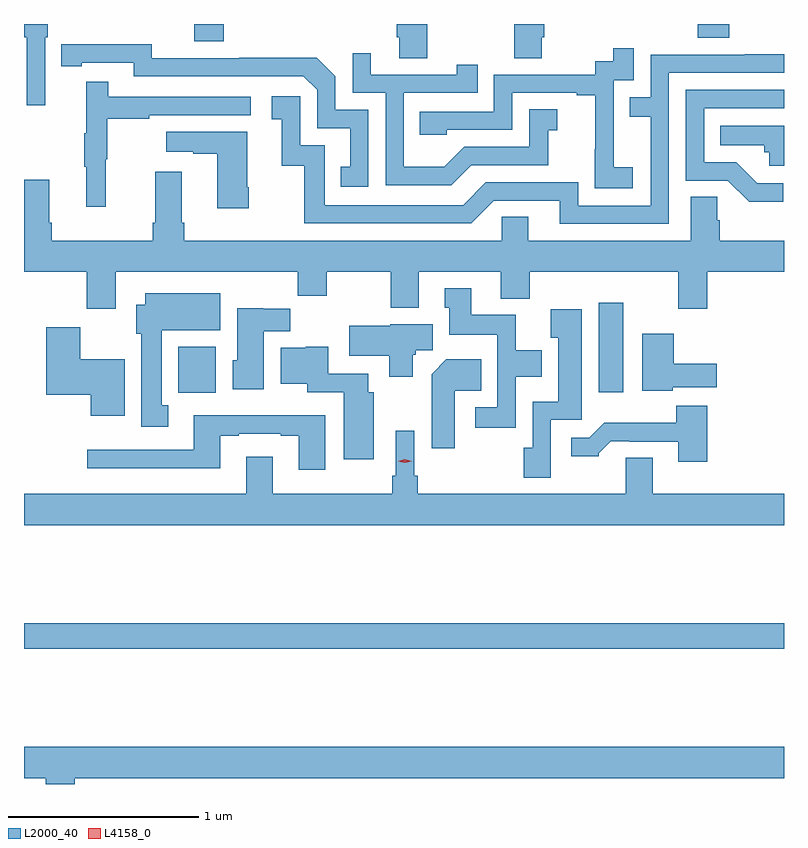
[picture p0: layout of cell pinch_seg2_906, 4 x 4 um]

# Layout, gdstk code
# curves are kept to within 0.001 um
import gdstk
lib = gdstk.Library(unit=1e-6, precision=1e-09)
def R(c, l, rs):  # rectangles x0, y0, x1, y1
    for r in rs: c.add(gdstk.rectangle(r[:2], r[2:], *l))
def P(c, l, *ps):  # polygons
    for p in ps: c.add(gdstk.Polygon(p, *l))
L2000_40 = (2000, 40)
L4158_0 = (4158, 0)

pinch_seg2_906 = lib.new_cell('pinch_seg2_906')
R(pinch_seg2_906, L2000_40, [(513.533,636.328,517.533,636.464), (514.346,637.676,514.543,637.918), (516.557,637.68,516.688,638.149), (514.43,639.527,514.583,639.617), (517.079,639.545,517.244,639.617)])
P(pinch_seg2_906, L2000_40, [(516.259,639.546),(516.272,639.546),(516.272,639.617),(516.112,639.617),(516.112,639.436),(516.259,639.436)],
  [(515.655,639.617),(515.495,639.617),(515.495,639.546),(515.507,639.546),(515.507,639.436),(515.655,639.436)],
  [(513.645,639.548),(513.659,639.548),(513.659,639.617),(513.533,639.617),(513.533,639.548),(513.548,639.548),(513.548,639.189),(513.645,639.189)],
  [(515.346,639.165),(515.172,639.165),(515.172,639.342),(515.074,639.44),(514.666,639.44),(514.666,639.438),(514.206,639.438),(514.206,639.511),(513.73,639.51),(513.73,639.394),(513.838,639.394),(513.838,639.414),(514.11,639.414),(514.11,639.342),(515.004,639.342),(515.076,639.27),(515.076,639.069),(515.249,639.069),(515.249,638.865),(515.2,638.865),(515.2,638.76),(515.346,638.76)],
  [(516.736,638.863),(516.638,638.863),(516.638,639.092),(516.636,639.092),(516.636,639.321),(516.741,639.321),(516.741,639.49),(516.633,639.49),(516.633,639.42),(516.54,639.42),(516.54,639.351),(516.006,639.351),(516.006,639.156),(515.617,639.156),(515.617,639.033),(515.757,639.033),(515.757,639.06),(516.102,639.06),(516.102,639.255),(516.443,639.255),(516.443,639.243),(516.539,639.243),(516.539,638.959),(516.538,638.959),(516.538,638.753),(516.736,638.753)],
  [(515.887,638.874),(516.291,638.874),(516.291,639.059),(516.34,639.059),(516.34,639.169),(516.192,639.169),(516.192,638.97),(515.85,638.97),(515.746,638.866),(515.532,638.866),(515.532,639.255),(515.921,639.255),(515.921,639.403),(515.81,639.403),(515.81,639.351),(515.359,639.351),(515.359,639.463),(515.262,639.463),(515.262,639.255),(515.436,639.255),(515.436,638.769),(515.782,638.769)],
  [(516.927,639.36),(517.533,639.36),(517.533,639.458),(517.327,639.458),(517.327,639.456),(516.831,639.456),(516.831,639.231),(516.721,639.231),(516.721,639.13),(516.831,639.13),(516.831,638.661),(516.45,638.661),(516.45,638.784),(515.964,638.784),(515.844,638.664),(515.115,638.664),(515.115,638.979),(514.986,638.979),(514.986,639.238),(514.836,639.238),(514.836,639.117),(514.889,639.117),(514.889,638.871),(515.007,638.871),(515.007,638.568),(515.886,638.568),(516.006,638.688),(516.353,638.688),(516.353,638.565),(516.927,638.565)],
  [(513.962,638.904),(513.97,638.904),(513.97,639.118),(514.193,639.118),(514.193,639.138),(514.726,639.138),(514.726,639.234),(513.977,639.234),(513.977,639.313),(513.86,639.313),(513.86,639.041),(513.849,639.041),(513.849,638.867),(513.86,638.867),(513.86,638.655),(513.962,638.655)],
  [(517.528,638.778),(517.393,638.778),(517.282,638.889),(517.113,638.889),(517.113,639.174),(517.533,639.174),(517.533,639.27),(517.017,639.27),(517.017,638.793),(517.236,638.793),(517.349,638.681),(517.528,638.681)],
  [(517.533,639.082),(517.198,639.082),(517.198,638.978),(517.429,638.978),(517.429,638.943),(517.455,638.943),(517.455,638.87),(517.533,638.87)],
  [(514.716,638.758),(514.708,638.758),(514.708,639.049),(514.281,639.049),(514.281,638.945),(514.424,638.945),(514.424,638.935),(514.55,638.935),(514.55,638.646),(514.716,638.646)],
  [(514.015,638.312),(514.975,638.312),(514.975,638.188),(515.127,638.188),(515.127,638.312),(515.464,638.312),(515.464,638.123),(515.611,638.123),(515.611,638.312),(516.041,638.312),(516.041,638.171),(516.194,638.171),(516.194,638.312),(516.977,638.312),(516.977,638.118),(517.13,638.118),(517.13,638.312),(517.533,638.312),(517.533,638.476),(517.196,638.476),(517.196,638.585),(517.182,638.585),(517.182,638.708),(517.043,638.708),(517.043,638.476),(516.187,638.476),(516.187,638.603),(516.048,638.603),(516.048,638.476),(514.376,638.476),(514.376,638.572),(514.363,638.572),(514.363,638.839),(514.223,638.839),(514.223,638.572),(514.211,638.572),(514.211,638.476),(513.68,638.476),(513.68,638.572),(513.667,638.572),(513.667,638.797),(513.533,638.797),(513.533,638.312),(513.863,638.312),(513.863,638.118),(514.015,638.118)],
  [(516.12,637.76),(516.259,637.76),(516.259,637.899),(516.121,637.899),(516.121,638.086),(515.887,638.086),(515.887,638.227),(515.747,638.227),(515.747,638.124),(515.771,638.124),(515.771,637.982),(516.024,637.982),(516.024,637.599),(515.907,637.599),(515.907,637.491),(516.12,637.491)],
  [(514.291,637.61),(514.258,637.61),(514.258,638.006),(514.567,638.006),(514.567,638.2),(514.172,638.2),(514.172,638.14),(514.124,638.14),(514.124,637.986),(514.151,637.986),(514.151,637.497),(514.291,637.497)],
  [(514.795,638),(514.934,638),(514.934,638.118),(514.791,638.118),(514.791,638.122),(514.655,638.122),(514.655,637.848),(514.631,637.848),(514.631,637.694),(514.795,637.694)],
  [(516.306,637.533),(516.469,637.533),(516.469,638.116),(516.305,638.116),(516.305,637.967),(516.344,637.967),(516.344,637.63),(516.21,637.63),(516.21,637.386),(516.163,637.386),(516.163,637.23),(516.306,637.23)],
  [(515.578,637.875),(515.595,637.875),(515.595,637.9),(515.683,637.9),(515.683,638.038),(515.46,638.038),(515.46,638.029),(515.246,638.029),(515.246,637.871),(515.456,637.871),(515.456,637.76),(515.578,637.76)],
  [(514.063,637.852),(513.828,637.852),(513.828,638.02),(513.65,638.02),(513.65,637.667),(513.884,637.667),(513.884,637.556),(514.063,637.556)],
  [(516.948,637.706),(517.18,637.706),(517.18,637.828),(516.952,637.828),(516.952,637.987),(516.788,637.987),(516.788,637.688),(516.948,637.688)],
  [(515.374,637.678),(515.344,637.678),(515.344,637.776),(515.134,637.776),(515.134,637.918),(515.016,637.918),(515.016,637.912),(514.883,637.912),(514.883,637.724),(515.024,637.724),(515.024,637.68),(515.216,637.68),(515.216,637.326),(515.374,637.326)],
  [(515.8,637.688),(515.939,637.688),(515.939,637.852),(515.756,637.852),(515.678,637.774),(515.678,637.383),(515.8,637.383)],
  [(517.13,637.609),(516.965,637.609),(516.965,637.519),(516.586,637.519),(516.507,637.44),(516.414,637.44),(516.414,637.343),(516.558,637.343),(516.558,637.358),(516.622,637.422),(516.721,637.422),(516.721,637.419),(516.977,637.419),(516.977,637.314),(517.13,637.314)],
  [(515.119,637.558),(514.427,637.558),(514.427,637.377),(513.867,637.377),(513.867,637.28),(514.567,637.28),(514.567,637.449),(514.663,637.449),(514.663,637.461),(514.883,637.461),(514.883,637.449),(514.979,637.449),(514.979,637.272),(515.119,637.272)],
  [(517.533,637.144),(516.841,637.144),(516.841,637.334),(516.701,637.334),(516.701,637.144),(515.606,637.144),(515.606,637.24),(515.586,637.24),(515.586,637.477),(515.49,637.477),(515.49,637.24),(515.47,637.24),(515.47,637.144),(514.843,637.144),(514.843,637.339),(514.703,637.339),(514.703,637.144),(513.533,637.144),(513.533,636.98),(517.533,636.98)],
  [(513.8,635.648),(517.533,635.648),(517.533,635.812),(513.533,635.812),(513.533,635.648),(513.647,635.648),(513.647,635.617),(513.8,635.617)])
P(pinch_seg2_906, L4158_0, [(515.538,637.307),(515.502,637.316),(515.502,637.317),(515.502,637.317),(515.538,637.327),(515.573,637.317),(515.573,637.317),(515.573,637.316)])

lib.write_gds('pinch_seg2_906.gds')
